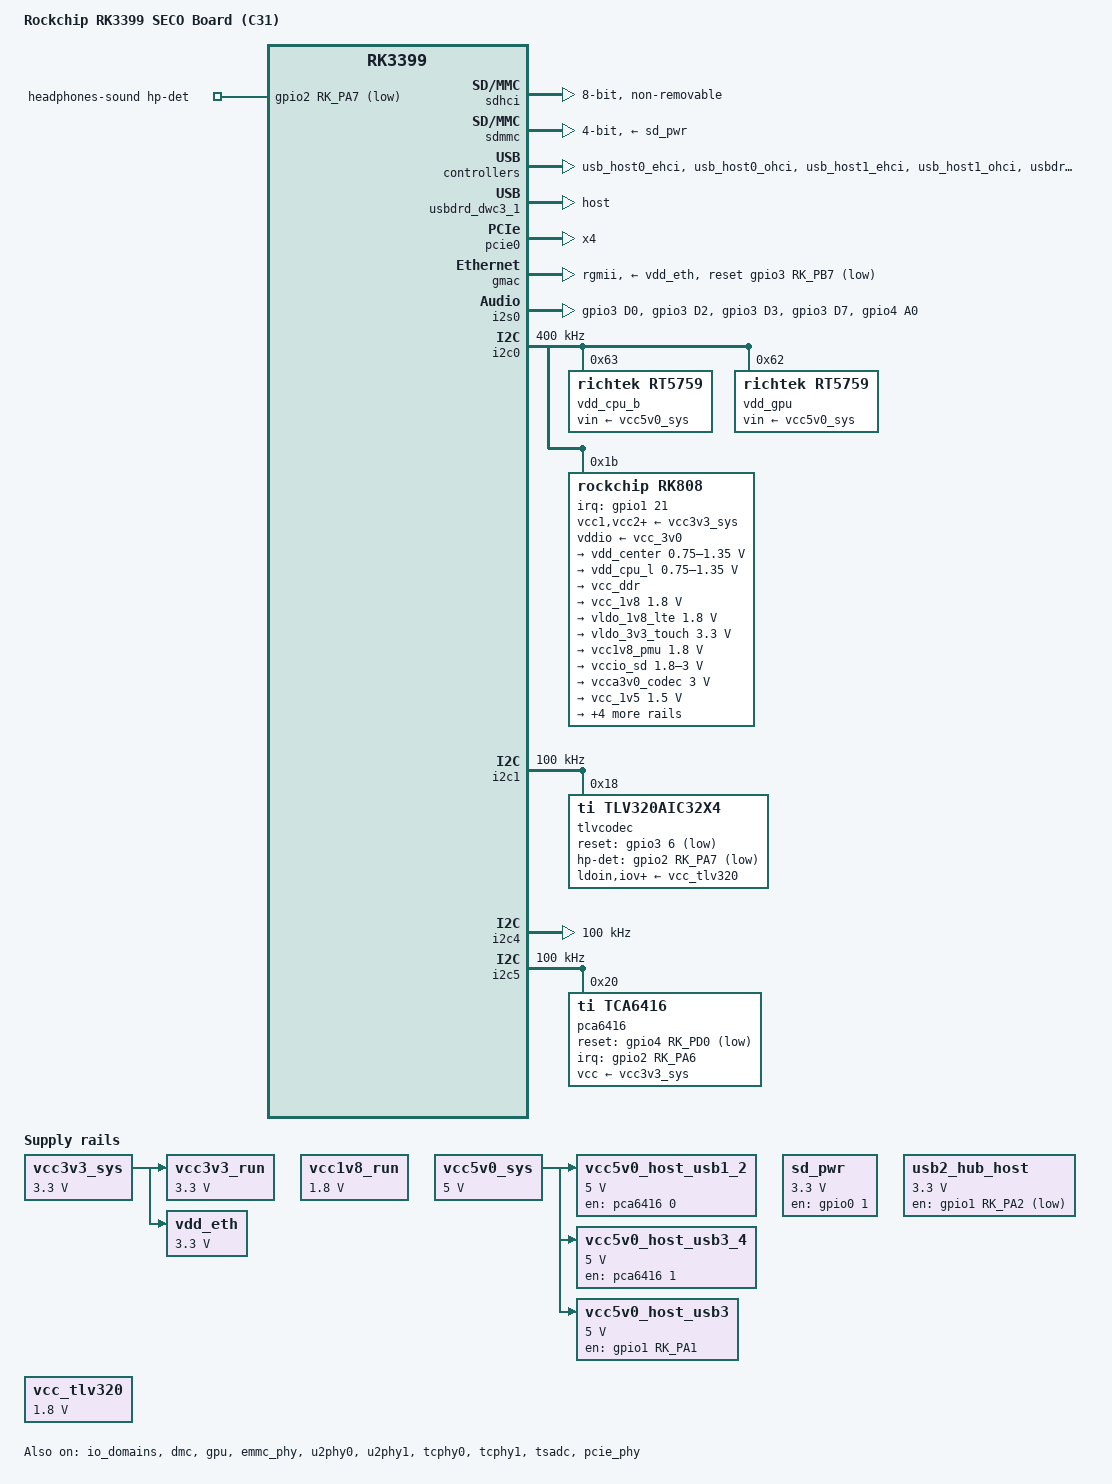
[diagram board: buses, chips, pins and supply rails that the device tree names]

/dts-v1/;

#include "dt-bindings/pwm/pwm.h"
#include <dt-bindings/input/input.h>
#include <dt-bindings/display/drm_mipi_dsi.h>

#include "seco-rk3399.dtsi"
#include "seco-rk3399-opp.dtsi"
#include "seco-rk3399-vop-clk-set.dtsi"


/ {
	model      = "Rockchip RK3399 SECO Board (C31)";
	compatible = "rockchip,seco-rk3399-c31", "rockchip,rk3399";


    chosen {
		bootargs = "earlycon=uart8250,mmio32,0xff1a0000 swiotlb=1 console=ttyFIQ0,115200n8n rw root=PARTUUID=614e0000-0000 rootfstype=ext4 rootwait coherent_pool=1m";
		stdout-path = "serial2:115200n8";
	};


/*  __________________________________________________________________________
 * |                                                                          |
 * |                                   DEBUG                                  |
 * |__________________________________________________________________________|
 */
	fiq_debugger: fiq-debugger {
		compatible               = "rockchip,fiq-debugger";
		rockchip,serial-id       = <2>;
		rockchip,signal-irq      = <182>;
		rockchip,wake-irq        = <0>;
		rockchip,irq-mode-enable = <1>;  /* If enable uart uses irq instead of fiq */
		rockchip,baudrate        = <115200>;    /* Only 115200 and 1500000 */
		pinctrl-names            = "default";
		pinctrl-0                = <&uart2c_xfer>;
	};


/*  __________________________________________________________________________
 * |                                                                          |
 * |                                 REGULATORS                               |
 * |__________________________________________________________________________|
 */
	vcc3v3_sys: vcc3v3-sys {
		compatible              = "regulator-fixed";
		regulator-name          = "vcc3v3_sys";
		regulator-always-on;
		regulator-boot-on;
		regulator-min-microvolt = <3300000>;
		regulator-max-microvolt = <3300000>;
	};


    vcc3v3_run: vcc3v3-run {
		compatible              = "regulator-fixed";
		regulator-name          = "vcc3v3_run";
		regulator-min-microvolt = <3300000>;
		regulator-max-microvolt = <3300000>;
		enable-active-high;
		regulator-always-on;
		vin-supply              = <&vcc3v3_sys>;
	};


	vcc1v8_run: vcc1v8-run {
		compatible              = "regulator-fixed";
		regulator-name          = "vcc1v8_run";
		regulator-min-microvolt = <1800000>;
		regulator-max-microvolt = <1800000>;
		enable-active-high;
		regulator-always-on;
	};


	vdd_eth: vdd-eth {
		compatible              = "regulator-fixed";
		regulator-name          = "vdd_eth";
		regulator-min-microvolt = <3300000>;
		regulator-max-microvolt = <3300000>;
		enable-active-high;
		regulator-always-on;
		vin-supply              = <&vcc3v3_sys>;
	};
    

	vcc5v0_sys: vcc5v-sys {
		compatible              = "regulator-fixed";
		regulator-name          = "vcc5v0_sys";
		regulator-always-on;
		regulator-boot-on;
		regulator-min-microvolt = <5000000>;
		regulator-max-microvolt = <5000000>;
	};


    sd_pwr: sd-pwr {
		compatible              = "regulator-fixed";
		gpio                    = <&gpio0 1 GPIO_ACTIVE_HIGH>;
		pinctrl-names           = "default";
		pinctrl-0               = <&sdmmc0_pwr_h>;
		regulator-name          = "vcc_sd";
		regulator-min-microvolt = <3300000>;
		regulator-max-microvolt = <3300000>;
		enable-active-high;
	};


    usb2_hub_host: usb2-hub-host {
		compatible              = "regulator-fixed";
		gpio                    = <&gpio1 RK_PA2 GPIO_ACTIVE_HIGH>;
		pinctrl-names           = "default";
		pinctrl-0               = <&host_hub_enable>;
		regulator-name          = "usb2_hub_host";
        regulator-min-microvolt = <3300000>;
		regulator-max-microvolt = <3300000>;
		enable-active-down;
		regulator-always-on;
	};


	vcc5v0_host_usb1_2: vcc5v0-host-usb1-2-regulator {
		compatible              = "regulator-fixed";
		gpio                    = <&pca6416 0 GPIO_ACTIVE_HIGH>;
		regulator-name          = "vcc5v0_host_usb1_2";
        regulator-min-microvolt = <5000000>;
		regulator-max-microvolt = <5000000>;
		regulator-always-on;
		enable-active-high;
		vin-supply              = <&vcc5v0_sys>;
	};


	vcc5v0_host_usb3_4: vcc5v0-host-usb3-4-regulator {
		compatible              = "regulator-fixed";
		gpio                    = <&pca6416 1 GPIO_ACTIVE_HIGH>;
		regulator-name          = "vcc5v0_host_usb3_4";
        regulator-min-microvolt = <5000000>;
		regulator-max-microvolt = <5000000>;
		regulator-always-on;
		enable-active-high;
		vin-supply              = <&vcc5v0_sys>;
	};


    vcc5v0_host_usb3: vcc5v0-host-usb3-regulator {
		compatible              = "regulator-fixed";
		gpio                    = <&gpio1 RK_PA1 GPIO_ACTIVE_HIGH>;
		regulator-name          = "vcc5v0_host_usb3";
        regulator-min-microvolt = <5000000>;
		regulator-max-microvolt = <5000000>;
		regulator-always-on;
		enable-active-high;
		vin-supply              = <&vcc5v0_sys>;
	};


	vcc_tlv320: vcc-tlv320-regulator {
		compatible              = "regulator-fixed";
		regulator-name          = "tlv320aic32x4_supply";
		regulator-min-microvolt = <1800000>;
		regulator-max-microvolt = <1800000>;
		regulator-always-on;
	};
};



/*  __________________________________________________________________________
 * |                                                                          |
 * |                                   POWER                                  |
 * |__________________________________________________________________________|
 */
&io_domains {
	bt656-supply    = <&vcc_3v0>; /* bt656_gpio2ab_ms */
	audio-supply    = <&vcc1v8_run>; /* audio_gpio3d4a_ms */
	sdmmc-supply    = <&sd_pwr>; /* sdmmc_gpio4b_ms */
	gpio1830-supply = <&vcc_3v0>; /* gpio1833_gpio4cd_ms */

	status          = "okay";
};
/*  __________________________________________________________________________
 * |__________________________________________________________________________|
 */



/*  __________________________________________________________________________
 * |                                                                          |
 * |                                    CPU                                   |
 * |__________________________________________________________________________|
 */
&cpu_l0 {
	cpu-supply = <&vdd_cpu_l>;
};


&cpu_l1 {
	cpu-supply = <&vdd_cpu_l>;
};


&cpu_l2 {
	cpu-supply = <&vdd_cpu_l>;
};


&cpu_l3 {
	cpu-supply = <&vdd_cpu_l>;
};


&cpu_b0 {
	cpu-supply = <&vdd_cpu_b>;
};


&cpu_b1 {
	cpu-supply = <&vdd_cpu_b>;
};


&dmc {
	status             = "okay";
	center-supply      = <&vdd_center>;
	upthreshold        = <40>;
	downdifferential   = <20>;

	system-status-freq = <
		/*system status         freq(KHz)*/
		SYS_STATUS_NORMAL       800000
		SYS_STATUS_REBOOT       528000
		SYS_STATUS_SUSPEND      200000
		SYS_STATUS_VIDEO_1080P  200000
		SYS_STATUS_VIDEO_4K     600000
		SYS_STATUS_VIDEO_4K_10B 800000
		SYS_STATUS_PERFORMANCE  800000
		SYS_STATUS_BOOST        400000
		SYS_STATUS_DUALVIEW     600000
		SYS_STATUS_ISP          600000
	>;
	vop-bw-dmc-freq = <
	/* min_bw(MB/s) max_bw(MB/s) freq(KHz) */
		0       762      200000
		763     1893     400000
		1894    3012     528000
		3013    99999    800000
	>;

	auto-min-freq = <200000>;
};
/*  __________________________________________________________________________
 * |__________________________________________________________________________|
 */


 /*  __________________________________________________________________________
 * |                                                                          |
 * |                                    GPU                                   |
 * |__________________________________________________________________________|
 */
&gpu {
	status      = "okay";
	mali-supply = <&vdd_gpu>;
};
/*  __________________________________________________________________________
 * |__________________________________________________________________________|
 */


/*  __________________________________________________________________________
 * |                                                                          |
 * |                              eMMC/uSD/SDIO                               |
 * |__________________________________________________________________________|
 */
 /*  eMMC  */
&emmc_phy {
	status = "okay";
};

&sdhci {
	bus-width                   = <8>;
	mmc-hs400-1_8v;
	supports-emmc;
	non-removable;
	keep-power-in-suspend;
	mmc-hs400-enhanced-strobe;
	status                      = "okay";
};


/*  uSD  */
&sdmmc {
	pinctrl-names      = "default";
	pinctrl-0          = <&sdmmc_clk &sdmmc_cmd &sdmmc_cd &sdmmc_bus4>;
	clock-frequency    = <150000000>;
	clock-freq-min-max = <100000 150000000>;
	supports-sd;
	bus-width          = <4>;
	vmmc-supply        = <&sd_pwr>;
	num-slots          = <1>;
	cap-mmc-highspeed;
	cap-sd-highspeed;
	disable-wp;
	status             = "okay";
};
/*  __________________________________________________________________________
 * |__________________________________________________________________________|
 */


 /*  __________________________________________________________________________
 * |                                                                          |
 * |                                    USB 2                                 |
 * |__________________________________________________________________________|
 */
 &u2phy0 {
	status  = "okay";
    extcon  = <&fusb0>;
	dr_mode = "host";
	
	u2phy0_host: host-port {
		phy-supply = <&usb2_hub_host &vcc5v0_host_usb1_2 &vcc5v0_host_usb3_4>;
		status     = "okay";
	};
};


&u2phy1 {
	status = "okay";

	u2phy1_otg: otg-port {
		status = "okay";
	};

	u2phy1_host: host-port {
		status = "okay";
	};
};


&usb_host0_ehci {
	status = "okay";
};


&usb_host0_ohci {
	status = "okay";
};


&usb_host1_ehci {
	status = "okay";
};


&usb_host1_ohci {
	status = "okay";
};
 /*  __________________________________________________________________________
 * |__________________________________________________________________________|
 */


/*  __________________________________________________________________________
 * |                                                                          |
 * |                                    USB 3                                 |
 * |__________________________________________________________________________|
 */
&usbdrd3_0 {
	status = "okay";
	extcon = <&fusb0>;
};


&usbdrd_dwc3_0 {
	status = "okay";
};


&usbdrd3_1 {
	status = "okay";
};

&usbdrd_dwc3_1 {
	status = "okay";
	dr_mode = "host";
};


&tcphy0 {
	extcon = <&fusb0>;
	status = "okay";
};


&tcphy1 {
	status = "okay";
};

&tsadc {
	/* tshut mode 0:CRU 1:GPIO */
	rockchip,hw-tshut-mode = <1>;
	/* tshut polarity 0:LOW 1:HIGH */
	rockchip,hw-tshut-polarity = <1>;
	rockchip,hw-tshut-temp = <110000>;
	status = "okay";
};
/*  __________________________________________________________________________
 * |__________________________________________________________________________|
 */


/*  __________________________________________________________________________
 * |                                                                          |
 * |                                  PCIe                                    |
 * |__________________________________________________________________________|
 */
 &pcie_phy {
	status = "okay";
};

&pcie0 {
	ep-gpios          = <&pca6416 13 GPIO_ACTIVE_HIGH>;
    ep_start_low;
	num-lanes         = <4>;
	pinctrl-names     = "default";
	pinctrl-0         = <&pcie_clkreqn>;
	bus-scan-delay-ms = <1000>;
	status            = "okay";
};
/*  __________________________________________________________________________
 * |__________________________________________________________________________|
 */


/*  __________________________________________________________________________
 * |                                                                          |
 * |                                ETHERNET                                  |
 * |__________________________________________________________________________|
 */
&gmac {
	phy-supply             = <&vdd_eth>;
	phy-mode               = "rgmii";
	clock_in_out           = "output";
	snps,reset-gpio        = <&gpio3 RK_PB7 GPIO_ACTIVE_LOW>;
	snps,reset-active-low;
	snps,reset-delays-us   = <0 10000 50000>;
	assigned-clocks        = <&cru SCLK_RMII_SRC>;
    assigned-clock-parents = <&cru SCLK_MAC>;
    assigned-clock-rates   = <125000000>;
	pinctrl-names          = "default";
	pinctrl-0              = <&rgmii_pins>;
	tx_delay               = <0x28>;
	rx_delay               = <0x11>;
	status                 = "okay";
};
/*  __________________________________________________________________________
 * |__________________________________________________________________________|
 */


/*  __________________________________________________________________________
 * |                                                                          |
 * |                                 AUDIO                                    |
 * |__________________________________________________________________________|
 */
&i2s0 {
	rockchip,i2s-broken-burst-len;
	pinctrl-names                  = "default";
	pinctrl-0                      = <&i2s0_2ch_bus &i2s0_2ch_mclk>;
	rockchip,playback-channels     = <2>;
	rockchip,capture-channels      = <2>;
	#sound-dai-cells               = <0>;
	//rockchip,clk-trcm              = <1>; 	// only tx_lrck/bclk is used

	status                         = "okay";
};


/ {
	headphones-sound {
		status                        = "okay";
		compatible                    = "simple-audio-card";
		simple-audio-card,format      = "i2s";
		simple-audio-card,name        = "rk-tlvcodec-sound";
		simple-audio-card,mclk-fs     = <256>;
		simple-audio-card,hp-det-gpio = <&gpio2 RK_PA7 GPIO_ACTIVE_LOW>;

		simple-audio-card,cpu {
			bitclock-master;
			frame-master;
			sound-dai         = <&i2s0>;
		};
		simple-audio-card,codec {
			sound-dai         = <&tlvcodec>;
		};
	};
};
/*  __________________________________________________________________________
 * |__________________________________________________________________________|
 */


/*  __________________________________________________________________________
 * |                                                                          |
 * |                                   I2C                                    |
 * |__________________________________________________________________________|
 */
&i2c0 {
	i2c-scl-rising-time-ns  = <168>;
	i2c-scl-falling-time-ns = <4>;
	clock-frequency         = <400000>;
	status                  = "okay";


    vdd_cpu_b: syr827@63 {
		compatible = "richtek,rt5759";
		reg        = <0x63>;
		vin-supply = <&vcc5v0_sys>;
		regulator-name          = "vdd_cpu_b";
		regulator-min-microvolt = <600000>;
		regulator-max-microvolt = <1500000>;
		regulator-ramp-delay    = <1000>;
		regulator-always-on;
		regulator-boot-on;
		regulator-initial-state = <3>;
		regulator-state-mem {
			regulator-off-in-suspend;
		};
	};


	vdd_gpu: syr827@62 {
		compatible = "richtek,rt5759";
		reg        = <0x62>;
		vin-supply = <&vcc5v0_sys>;
		regulator-name          = "vdd_gpu";
		regulator-min-microvolt = <600000>;
		regulator-max-microvolt = <1500000>;
		regulator-ramp-delay    = <1000>;
		regulator-always-on;
		regulator-boot-on;
		regulator-initial-state = <3>;
		regulator-state-mem {
			regulator-off-in-suspend;
		};
	};


	rk808: pmic@1b {
		compatible       = "rockchip,rk808";
		reg              = <0x1b>;
		pinctrl-names    = "default";
		pinctrl-0        = <&pmic_int_l>;
		interrupt-parent = <&gpio1>;
		interrupts       = <21 IRQ_TYPE_LEVEL_LOW>;
		#clock-cells     = <1>;
		rockchip,system-power-controller;
		wakeup-source;
		
		clock-output-names = "rk808-clkout1", "rk808-clkout2";

		vcc1-supply = <&vcc3v3_sys>;
		vcc2-supply = <&vcc3v3_sys>;
		vcc3-supply = <&vcc3v3_sys>;
		vcc4-supply = <&vcc3v3_sys>;
		vcc6-supply = <&vcc3v3_sys>;
		vcc7-supply = <&vcc3v3_sys>;
		vcc8-supply = <&vcc3v3_sys>;
		vcc9-supply = <&vcc3v3_sys>;
		vcc10-supply = <&vcc3v3_sys>;
		vcc11-supply = <&vcc3v3_sys>;
		vcc12-supply = <&vcc3v3_sys>;
		vddio-supply = <&vcc_3v0>;

		regulators {
			vdd_center: DCDC_REG1 {
				regulator-always-on;
				regulator-boot-on;
				regulator-min-microvolt = <750000>;
				regulator-max-microvolt = <1350000>;
				regulator-ramp-delay    = <6001>;
				regulator-name          = "vdd_center";
				regulator-state-mem {
					regulator-off-in-suspend;
				};
			};

			vdd_cpu_l: DCDC_REG2 {
				regulator-always-on;
				regulator-boot-on;
				regulator-min-microvolt = <750000>;
				regulator-max-microvolt = <1350000>;
				regulator-ramp-delay    = <6001>;
				regulator-name          = "vdd_cpu_l";
				regulator-state-mem {
					regulator-off-in-suspend;
				};
			};

			vcc_ddr: DCDC_REG3 {
				regulator-always-on;
				regulator-boot-on;
				regulator-name       = "vcc_ddr";
				regulator-state-mem {
					regulator-on-in-suspend;
				};
			};

			vcc_1v8: DCDC_REG4 {
				regulator-always-on;
				regulator-boot-on;
				regulator-min-microvolt    = <1800000>;
				regulator-max-microvolt    = <1800000>;
				regulator-name = "vcc_1v8";
				regulator-state-mem {
					regulator-on-in-suspend;
					regulator-suspend-microvolt = <1800000>;
				};
			};

			vldo_1v8_lte: LDO_REG1 {
				regulator-always-on;
				regulator-boot-on;
				regulator-min-microvolt = <1800000>;
				regulator-max-microvolt = <1800000>;
				regulator-name          = "vcc1v8_dvp";
				regulator-state-mem {
					regulator-off-in-suspend;
				};
			};

			vldo_3v3_touch: LDO_REG2 {
				regulator-always-on;
				regulator-boot-on;
				regulator-min-microvolt = <3300000>;
				regulator-max-microvolt = <3300000>;
				regulator-name          = "vldo_3v3_touch";
				regulator-state-mem {
					regulator-off-in-suspend;
				};
			};

			vcc1v8_pmu: LDO_REG3 {
				regulator-always-on;
				regulator-boot-on;
				regulator-min-microvolt = <1800000>;
				regulator-max-microvolt = <1800000>;
				regulator-name          = "vcc1v8_pmu";
				regulator-state-mem {
					regulator-on-in-suspend;
					regulator-suspend-microvolt = <1800000>;
				};
			};

			vccio_sd: LDO_REG4 {
				regulator-always-on;
				regulator-boot-on;
				regulator-min-microvolt = <1800000>;
				regulator-max-microvolt = <3000000>;
				regulator-name          = "vccio_sd";
				regulator-state-mem {
					regulator-on-in-suspend;
					regulator-suspend-microvolt = <3000000>;
				};
			};

			vcca3v0_codec: LDO_REG5 {
				regulator-always-on;
				regulator-boot-on;
				regulator-min-microvolt = <3000000>;
				regulator-max-microvolt = <3000000>;
				regulator-name          = "vcca3v0_codec";
				regulator-state-mem {
					regulator-off-in-suspend;
				};
			};

			vcc_1v5: LDO_REG6 {
				regulator-always-on;
				regulator-boot-on;
				regulator-min-microvolt = <1500000>;
				regulator-max-microvolt = <1500000>;
				regulator-name          = "vcc_1v5";
				regulator-state-mem {
					regulator-on-in-suspend;
					regulator-suspend-microvolt = <1500000>;
				};
			};

			vcca1v8_codec: LDO_REG7 {
				regulator-always-on;
				regulator-boot-on;
				regulator-min-microvolt = <1800000>;
				regulator-max-microvolt = <1800000>;
				regulator-name          = "vcca1v8_codec";
				regulator-state-mem {
					regulator-off-in-suspend;
				};
			};

			vcc_3v0: LDO_REG8 {
				regulator-always-on;
				regulator-boot-on;
				regulator-min-microvolt = <3000000>;
				regulator-max-microvolt = <3000000>;
				regulator-name          = "vcc_3v0";
				regulator-state-mem {
					regulator-on-in-suspend;
					regulator-suspend-microvolt = <3000000>;
				};
			};

			vcc3v3_s3: SWITCH_REG1 {
				regulator-always-on;
				regulator-boot-on;
				regulator-name = "vcc3v3_s3";
				regulator-state-mem {
					regulator-off-in-suspend;
				};
			};

			vcc3v3_s0: SWITCH_REG2 {
				regulator-always-on;
				regulator-boot-on;
				regulator-name = "vcc3v3_s0";
				regulator-state-mem {
					regulator-off-in-suspend;
				};
			};
		};
	};
};


&i2c1 {
	clock-frequency   = <100000>;
	status            = "okay";

	tlvcodec: tlv320aic32x4@18 { 
		compatible       = "ti,tlv320aic32x4"; 
		reg              = <0x18>;
		#sound-dai-cells = <0>;
		pinctrl-names    = "default";
		pinctrl-0        = <&codec_audio>;
		clocks           = <&cru SCLK_I2S_8CH_OUT>;
		clock-names      = "mclk";
		ldoin-supply     = <&vcc_tlv320>;
		iov-supply       = <&vcc_tlv320>;
		dov-supply       = <&vcc_tlv320>;
		aov-supply       = <&vcc_tlv320>;
		reset-gpios      = <&gpio3 6 GPIO_ACTIVE_LOW>;
		hp-det-gpio      = <&gpio2 RK_PA7 GPIO_ACTIVE_LOW>; 
	};
};


&i2c4 {
	clock-frequency   = <100000>;
	status            = "okay";

	fusb0: fusb30x@22 {
		compatible    = "fairchild,fusb302";
		reg           = <0x22>;
		pinctrl-names = "default";
		pinctrl-0     = <&fusb0_int>;
		vbus-5v-gpios = <&gpio0 RK_PA4 GPIO_ACTIVE_HIGH>;
		int-n-gpios   = <&gpio4 RK_PC5 GPIO_ACTIVE_HIGH>;
		status        = "disabled";
	};
};


&i2c5 {
	clock-frequency      = <100000>;
	status               = "okay";

	pca6416: gpio@20 {
		compatible       = "ti,tca6416";
		reg              = <0x20>;
		pinctrl-names    = "default";
		pinctrl-0        = <&pca6416_gpios>;
		reset-gpio       = <&gpio4 RK_PD0 GPIO_ACTIVE_LOW>;
		interrupt-parent = <&gpio2>;
		interrupts       = <RK_PA6 IRQ_TYPE_NONE>;
		#interrupt-cells = <2>;
		#gpio-cells      = <2>;
		gpio-controller;
		interrupt-controller;
		vcc-supply       = <&vcc3v3_sys>;
	};
};
/*  __________________________________________________________________________
 * |__________________________________________________________________________|
 */


/*  __________________________________________________________________________
 * |                                                                          |
 * |                              PIN MUX/CONTROL                             |
 * |__________________________________________________________________________|
 */
 &pinctrl {
     
    pmic {
		pmic_int_l: pmic-int-l {
			rockchip,pins =
				<1 RK_PC5 RK_FUNC_GPIO &pcfg_pull_up>;
		};
	};


	sdmmc0_pwr_h {
		sdmmc0_pwr_h: sdmmc0_pwr_h {
			rockchip,pins =
				<0 1 RK_FUNC_GPIO &pcfg_pull_up>;
		};
	};


    gpio_expander {
		pca6416_gpios: pca6416_gpios {
			rockchip,pins =
				<2 RK_PA6 RK_FUNC_GPIO &pcfg_pull_up>,	// IRQ
				<4 RK_PD0 RK_FUNC_GPIO &pcfg_pull_up>;	// RST
		};
	};


    usb2 {
		host_hub_enable: host-vbus-drv {
			rockchip,pins =
				<1 RK_PA2 RK_FUNC_GPIO &pcfg_pull_up>;
		};
	};


    fusb30x {
		fusb0_int: fusb0-int {
			rockchip,pins =
				<0 RK_PA4 RK_FUNC_GPIO &pcfg_pull_up>,
				<4 RK_PC5 RK_FUNC_GPIO &pcfg_pull_up>;
		};
	};

	gmac {
		rgmii_pins: rgmii-pins {
			rockchip,pins =
				/* mac_txclk */
				<3 17 RK_FUNC_1 &pcfg_pull_none_13ma>,
				/* reset */
				<3 15 RK_FUNC_1 &pcfg_output_high>,
				/* mac_rxclk */
				<3 14 RK_FUNC_1 &pcfg_pull_none>,
				/* mac_mdio */
				<3 13 RK_FUNC_1 &pcfg_pull_none>,
				/* mac_txen */
				<3 12 RK_FUNC_1 &pcfg_pull_none_13ma>,
				/* mac_rxdv */
				<3 9 RK_FUNC_1 &pcfg_pull_none>,
				/* mac_mdc */
				<3 8 RK_FUNC_1 &pcfg_pull_none>,
				/* mac_rxd1 */
				<3 7 RK_FUNC_1 &pcfg_pull_none>,
				/* mac_rxd0 */
				<3 6 RK_FUNC_1 &pcfg_pull_none>,
				/* mac_txd1 */
				<3 5 RK_FUNC_1 &pcfg_pull_none_13ma>,
				/* mac_txd0 */
				<3 4 RK_FUNC_1 &pcfg_pull_none_13ma>,
				/* mac_rxd3 */
				<3 3 RK_FUNC_1 &pcfg_pull_none>,
				/* mac_rxd2 */
				<3 2 RK_FUNC_1 &pcfg_pull_none>,
				/* mac_txd3 */
				<3 1 RK_FUNC_1 &pcfg_pull_none_13ma>,
				/* mac_txd2 */
				<3 0 RK_FUNC_1 &pcfg_pull_none_13ma>;
		};
	};


	audio_i2s {
		i2s0_2ch_bus: i2s0_2ch_bus {
				rockchip,pins =
					<3 RK_PD0 RK_FUNC_1 &pcfg_pull_none>,
					<3 RK_PD2 RK_FUNC_1 &pcfg_pull_none>,
					<3 RK_PD3 RK_FUNC_1 &pcfg_pull_none>,		
					<3 RK_PD7 RK_FUNC_1 &pcfg_pull_none>;
		};


		i2s0_2ch_mclk: i2s0_2ch_mclk {
				rockchip,pins =
					<4 RK_PA0 RK_FUNC_1 &pcfg_pull_none>;
		};


		codec_audio: codec-audio {
			rockchip,pins =
				<3 RK_PD6 RK_FUNC_GPIO &pcfg_pull_up>,
				<2 RK_PA7 RK_FUNC_GPIO &pcfg_pull_up>;
		};
	};
};
/*  __________________________________________________________________________
 * |__________________________________________________________________________|
 */
